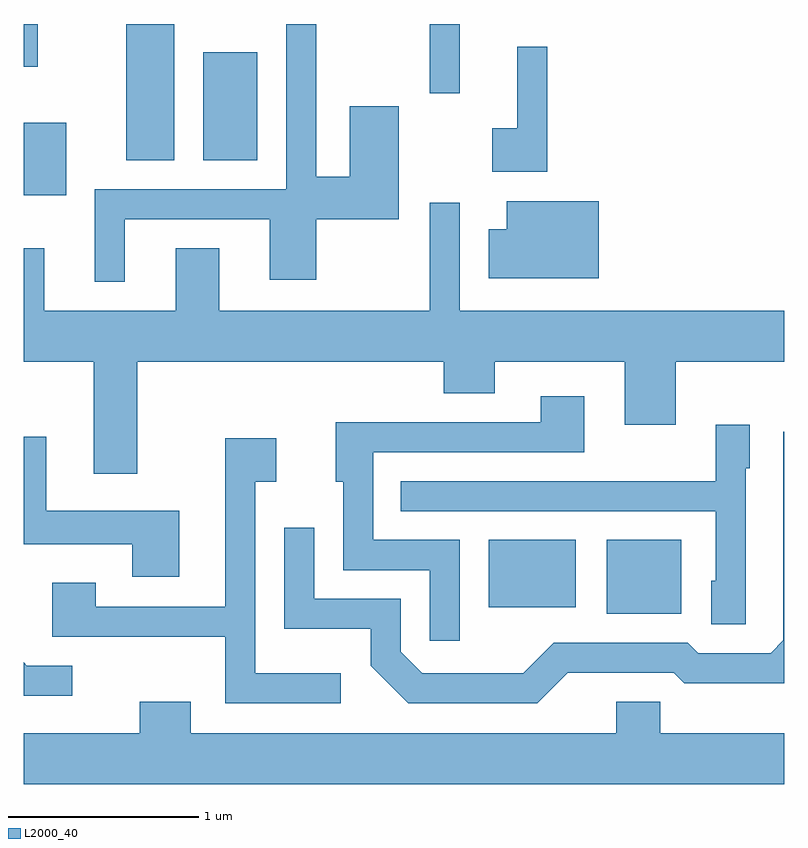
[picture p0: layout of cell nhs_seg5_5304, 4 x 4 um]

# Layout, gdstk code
import gdstk
lib = gdstk.Library(unit=1e-6, precision=1e-09)
def R(c, l, rs):  # rectangles x0, y0, x1, y1
    for r in rs: c.add(gdstk.rectangle(r[:2], r[2:], *l))
def P(c, l, *ps):  # polygons
    for p in ps: c.add(gdstk.Polygon(p, *l))
L2000_40 = (2000, 40)

nhs_seg5_5304 = lib.new_cell('nhs_seg5_5304')
R(nhs_seg5_5304, L2000_40, [(344.676,1510.971,345.069,1511.359), (344.056,1511.006,344.514,1511.359), (341.611,1513.171,341.834,1513.554), (342.151,1513.356,342.404,1514.072), (342.556,1513.356,342.839,1513.924), (343.746,1513.708,343.904,1514.072), (341.611,1513.848,341.684,1514.072)])
P(nhs_seg5_5304, L2000_40, [(342.144,1513.046),(342.906,1513.046),(342.906,1512.726),(343.149,1512.726),(343.149,1513.046),(343.584,1513.046),(343.584,1513.639),(343.326,1513.639),(343.326,1513.269),(343.149,1513.269),(343.149,1514.072),(342.991,1514.072),(342.991,1513.204),(341.986,1513.204),(341.986,1512.718),(342.144,1512.718)],
  [(344.364,1513.953),(344.206,1513.953),(344.206,1513.524),(344.076,1513.524),(344.076,1513.296),(344.364,1513.296)],
  [(344.634,1513.139),(344.151,1513.139),(344.151,1512.994),(344.056,1512.994),(344.056,1512.736),(344.634,1512.736)],
  [(342.209,1512.296),(343.821,1512.296),(343.821,1512.131),(344.089,1512.131),(344.089,1512.296),(344.771,1512.296),(344.771,1511.966),(345.039,1511.966),(345.039,1512.296),(345.611,1512.296),(345.611,1512.564),(343.904,1512.564),(343.904,1513.133),(343.746,1513.133),(343.746,1512.564),(342.639,1512.564),(342.639,1512.894),(342.411,1512.894),(342.411,1512.564),(341.719,1512.564),(341.719,1512.894),(341.611,1512.894),(341.611,1512.296),(341.981,1512.296),(341.981,1511.706),(342.209,1511.706)],
  [(343.904,1511.359),(343.449,1511.359),(343.449,1511.821),(344.559,1511.821),(344.559,1512.114),(344.331,1512.114),(344.331,1511.979),(343.251,1511.979),(343.251,1511.666),(343.291,1511.666),(343.291,1511.201),(343.746,1511.201),(343.746,1510.828),(343.904,1510.828)],
  [(345.409,1511.736),(345.429,1511.736),(345.429,1511.964),(345.251,1511.964),(345.251,1511.669),(343.593,1511.669),(343.593,1511.511),(345.251,1511.511),(345.251,1511.144),(345.226,1511.144),(345.226,1510.916),(345.409,1510.916)],
  [(344.472,1510.661),(345.029,1510.661),(345.084,1510.606),(345.611,1510.606),(345.611,1511.929),(345.606,1511.929),(345.606,1510.832),(345.539,1510.764),(345.157,1510.764),(345.102,1510.819),(344.399,1510.819),(344.239,1510.659),(343.707,1510.659),(343.594,1510.772),(343.594,1511.049),(343.139,1511.049),(343.139,1511.423),(342.981,1511.423),(342.981,1510.891),(343.436,1510.891),(343.436,1510.699),(343.634,1510.501),(344.312,1510.501)],
  [(342.429,1511.514),(341.729,1511.514),(341.729,1511.903),(341.611,1511.903),(341.611,1511.336),(342.181,1511.336),(342.181,1511.166),(342.429,1511.166)],
  [(343.278,1510.659),(342.829,1510.659),(342.829,1511.666),(342.939,1511.666),(342.939,1511.894),(342.671,1511.894),(342.671,1511.009),(341.989,1511.009),(341.989,1511.134),(341.761,1511.134),(341.761,1510.851),(342.671,1510.851),(342.671,1510.501),(343.278,1510.501)],
  [(341.868,1510.699),(341.627,1510.699),(341.611,1510.715),(341.611,1510.541),(341.868,1510.541)],
  [(345.611,1510.344),(344.959,1510.344),(344.959,1510.509),(344.726,1510.509),(344.726,1510.344),(342.489,1510.344),(342.489,1510.509),(342.221,1510.509),(342.221,1510.344),(341.611,1510.344),(341.611,1510.076),(345.611,1510.076)])

lib.write_gds('nhs_seg5_5304.gds')
